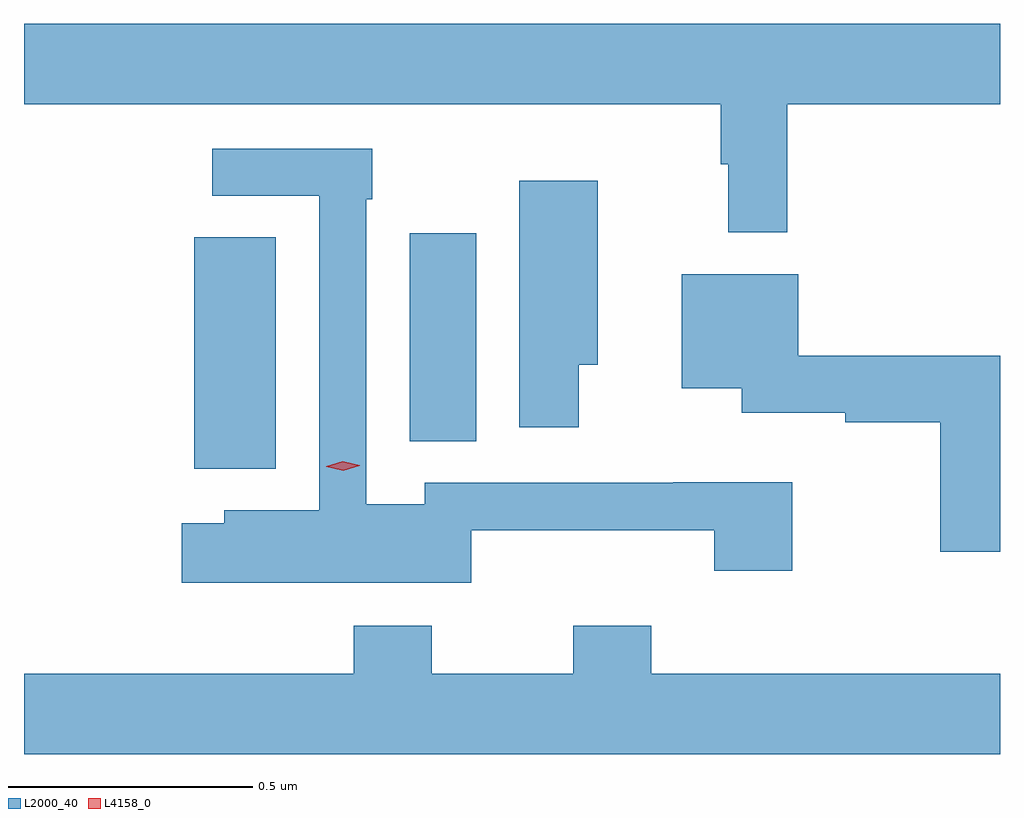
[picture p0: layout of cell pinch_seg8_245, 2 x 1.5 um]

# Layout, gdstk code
import gdstk
lib = gdstk.Library(unit=1e-6, precision=1e-09)
def R(c, l, rs):  # rectangles x0, y0, x1, y1
    for r in rs: c.add(gdstk.rectangle(r[:2], r[2:], *l))
def P(c, l, *ps):  # polygons
    for p in ps: c.add(gdstk.Polygon(p, *l))
L2000_40 = (2000, 40)
L4158_0 = (4158, 0)

pinch_seg8_245 = lib.new_cell('pinch_seg8_245')
R(pinch_seg8_245, L2000_40, [(771.866,1107.761,772.033,1108.235), (772.307,1107.817,772.444,1108.243)])
P(pinch_seg8_245, L2000_40, [(773.081,1108.508),(773.517,1108.508),(773.517,1108.672),(771.517,1108.672),(771.517,1108.508),(772.945,1108.508),(772.945,1108.385),(772.96,1108.385),(772.96,1108.245),(773.081,1108.245)],
  [(772.434,1107.635),(772.931,1107.635),(772.931,1107.552),(773.091,1107.552),(773.091,1107.733),(772.847,1107.733),(772.847,1107.732),(772.338,1107.732),(772.338,1107.688),(772.218,1107.688),(772.218,1108.313),(772.231,1108.313),(772.231,1108.416),(771.903,1108.416),(771.903,1108.32),(772.122,1108.32),(772.122,1107.676),(771.927,1107.676),(771.927,1107.649),(771.84,1107.649),(771.84,1107.527),(772.434,1107.527)],
  [(772.654,1107.974),(772.693,1107.974),(772.693,1108.351),(772.532,1108.351),(772.532,1107.846),(772.654,1107.846)],
  [(773.517,1107.992),(773.104,1107.992),(773.104,1108.159),(772.865,1108.159),(772.865,1107.926),(772.988,1107.926),(772.988,1107.875),(773.2,1107.875),(773.2,1107.856),(773.395,1107.856),(773.395,1107.591),(773.517,1107.591)],
  [(773.517,1107.34),(772.802,1107.34),(772.802,1107.439),(772.642,1107.439),(772.642,1107.34),(772.353,1107.34),(772.353,1107.439),(772.193,1107.439),(772.193,1107.34),(771.517,1107.34),(771.517,1107.176),(773.517,1107.176)])
P(pinch_seg8_245, L4158_0, [(772.171,1107.756),(772.136,1107.765),(772.136,1107.765),(772.136,1107.766),(772.17,1107.776),(772.205,1107.768),(772.205,1107.768),(772.205,1107.767)])

lib.write_gds('pinch_seg8_245.gds')
